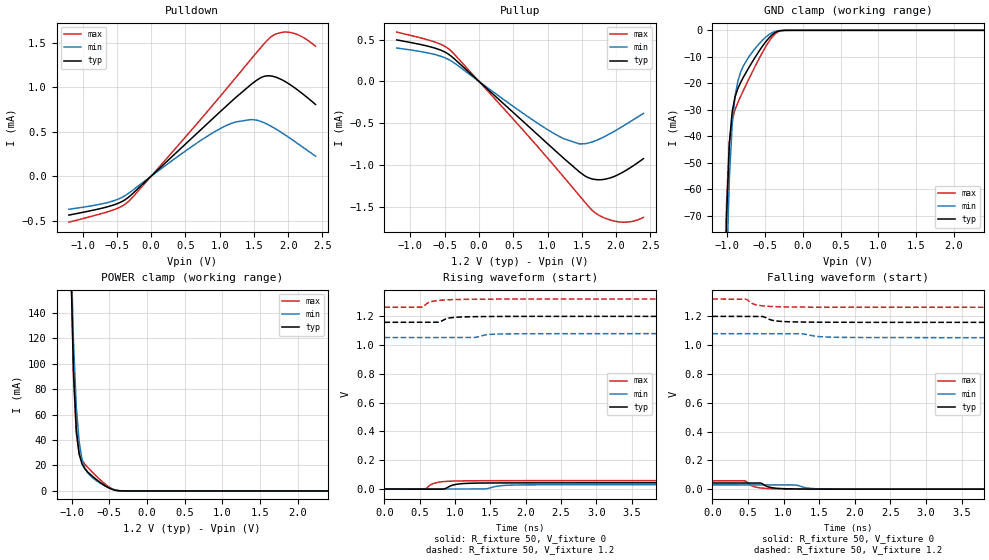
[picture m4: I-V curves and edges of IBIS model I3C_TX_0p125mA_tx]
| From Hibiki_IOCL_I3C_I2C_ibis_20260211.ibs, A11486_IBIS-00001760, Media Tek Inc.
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[Model]   I3C_TX_0p125mA_tx
Model_type I/O
Enable   Active-High
Vinl  =  0.15
Vinh  =  0.6
| Capacitance   typ   min   max
C_comp   2.38054388888889e-12   2.297637654320988e-12   2.448353535353536e-12
[Model Spec]
| Subparameter   typ   min   max
Vinl   0   0   0
Vinh   0   0   0
Vmeas   0.6   0.54   0.66
| Variables   typ   min   max
[GND Clamp Reference]   0   0   0
[POWER Clamp Reference]   1.2   1.08   1.32
[Pulldown Reference]   0   0   0
[Pullup Reference]   1.2   1.08   1.32
[Temperature Range]   25   125   -40
[Voltage Range]   1.2   1.08   1.32
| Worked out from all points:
|   slope of the pulldown table from 0 to 0.18 V, typ, clamps not added: 1.39 kohm
|   slope of the pullup table from 0 to 0.18 V, typ, clamps not added: 1.34 kohm
|   GND clamp passes 1 mA (typ) near -0.38 V on its own axis
|   POWER clamp passes 1 mA (typ) near -0.45 V on its own axis
[GND Clamp]
| Voltage   I(typ)   I(min)   I(max)
-1.2V     -742.2mA   -525.9mA   -647.8mA
-1.05V    -131.2mA   -159.5mA   -123.1mA
-1.012V   -71.24mA   -93.57mA   -65.79mA
-975mV    -42.9mA    -56.15mA   -42.35mA
-937.5mV  -30.79mA   -35.83mA   -33.91mA
-900mV    -25.2mA    -25.12mA   -30mA
-862.5mV  -22mA      -19.26mA   -27.29mA
-787.5mV  -17.62mA   -13.33mA   -22.61mA
-712.5mV  -13.88mA   -9.827mA   -18.14mA
-450mV    -2.896mA   -1.626mA   -4.255mA
-262.5mV  -36.84uA   -32.89uA   -53.29uA
2.4V      0A         0A         0A
[POWER Clamp]
| Voltage   I(typ)   I(min)   I(max)
-1.2V     1.134A     914.5mA    1.147A
-1.012V   184.7mA    200.6mA    187.8mA
-975mV    94.28mA    117.1mA    90.89mA
-937.5mV  47.98mA    66.09mA    44.9mA
-900mV    28.94mA    38.72mA    29.55mA
-862.5mV  21.24mA    25.05mA    24.12mA
-825mV    17.44mA    18.13mA    21.07mA
-787.5mV  14.92mA    14.25mA    18.58mA
-712.5mV  10.93mA    9.809mA    13.96mA
-525mV    2.977mA    3.033mA    4.016mA
-375mV    136.8uA    333.6uA    154.3uA
2.4V      0A         0A         0A
[Pullup]
| Voltage   I(typ)   I(min)   I(max)
-1.2V     496.4uA    399.5uA    590.2uA
-637.5mV  397uA      320.6uA    469.4uA
-525mV    362.3uA    291.6uA    431.1uA
-412.5mV  306.3uA    247.7uA    368.7uA
900mV     -669.9uA   -524uA     -821.8uA
1.238V    -920.3uA   -685.1uA   -1.144mA
1.462V    -1.08mA    -746.6uA   -1.363mA
1.575V    -1.144mA   -740.8uA   -1.473mA
1.688V    -1.172mA   -712.9uA   -1.567mA
1.913V    -1.154mA   -624.3uA   -1.657mA
2.175V    -1.049mA   -497uA     -1.682mA
2.4V      -923.3uA   -382.9uA   -1.626mA
[Pulldown]
| Voltage   I(typ)   I(min)   I(max)
-1.2V     -436.7uA   -371.5uA   -516.5uA
-637.5mV  -344uA     -296.4uA   -400.5uA
-337.5mV  -241uA     -196.5uA   -289.3uA
712.5mV   512.9uA    395.4uA    629uA
1.012V    727.8uA    536.8uA    901.6uA
1.238V    885.8uA    610.2uA    1.11mA
1.462V    1.033mA    637.2uA    1.319mA
1.613V    1.111mA    612.1uA    1.456mA
1.725V    1.128mA    571.9uA    1.55mA
1.837V    1.108mA    522.2uA    1.603mA
2.1V      990.3uA    387.8uA    1.602mA
2.4V      805.6uA    225.1uA    1.46mA
[Ramp]
dV/dt_r   25.8318m/0.155408n  18.0336m/0.184938n  35.0288m/0.148593n
dV/dt_f   24.9269m/0.176166n  16.5812m/0.228886n  34.0075m/0.169873n
R_load = 50
[Rising Waveform]
R_fixture = 50
V_fixture = 0
V_fixture_min = 0
V_fixture_max = 0
| Time   V(typ)   V(min)   V(max)
0s        159.7nV    1.397uV    312.8nV
568.2ps   -9.723uV   1.417uV    -390.6uV
683.5ps   12.29uV    929.6nV    36.61mV
826.2ps   -496.5uV   -4.202uV   51.41mV
1.066ns   36.06mV    -152.9nV   56.55mV
1.419ns   41.99mV    322.5uV    57.91mV
1.594ns   42.47mV    19.93mV    58.12mV
1.921ns   42.82mV    28.71mV    58.29mV
3.098ns   43.04mV    29.98mV    58.38mV
75ns      43.05mV    30.06mV    58.38mV
[Rising Waveform]
R_fixture = 50
V_fixture = 1.2
V_fixture_min = 1.08
V_fixture_max = 1.32
| Time   V(typ)   V(min)   V(max)
0s        1.158V     1.052V     1.263V
529.1ps   1.158V     1.052V     1.264V
644.1ps   1.158V     1.052V     1.3V
766.4ps   1.159V     1.052V     1.311V
820.7ps   1.17V      1.052V     1.313V
1.005ns   1.193V     1.052V     1.317V
1.271ns   1.198V     1.053V     1.319V
1.458ns   1.199V     1.073V     1.319V
1.692ns   1.199V     1.078V     1.32V
75ns      1.2V       1.08V      1.32V
[Falling Waveform]
R_fixture = 50
V_fixture = 0
V_fixture_min = 0
V_fixture_max = 0
| Time   V(typ)   V(min)   V(max)
0s        43.05mV    30.06mV    58.38mV
451.8ps   43.05mV    30.06mV    58.1mV
562.7ps   43.07mV    30.06mV    21.6mV
676.2ps   42.22mV    30.06mV    8.525mV
720.3ps   31.8mV     30.06mV    6.25mV
795.2ps   14.62mV    30.06mV    3.929mV
922.2ps   5.307mV    30.08mV    2.028mV
1.162ns   1.434mV    28.98mV    770.6uV
1.489ns   466.1uV    2.549mV    250.4uV
75ns      197nV      1.709uV    280.4nV
[Falling Waveform]
R_fixture = 50
V_fixture = 1.2
V_fixture_min = 1.08
V_fixture_max = 1.32
| Time   V(typ)   V(min)   V(max)
0s        1.2V       1.08V      1.32V
459.5ps   1.2V       1.08V      1.32V
582.6ps   1.2V       1.08V      1.285V
698.6ps   1.199V     1.08V      1.273V
757.6ps   1.189V     1.08V      1.271V
841.5ps   1.173V     1.08V      1.268V
964.1ps   1.165V     1.08V      1.266V
1.244ns   1.161V     1.08V      1.264V
1.663ns   1.159V     1.055V     1.264V
75ns      1.158V     1.052V     1.263V
